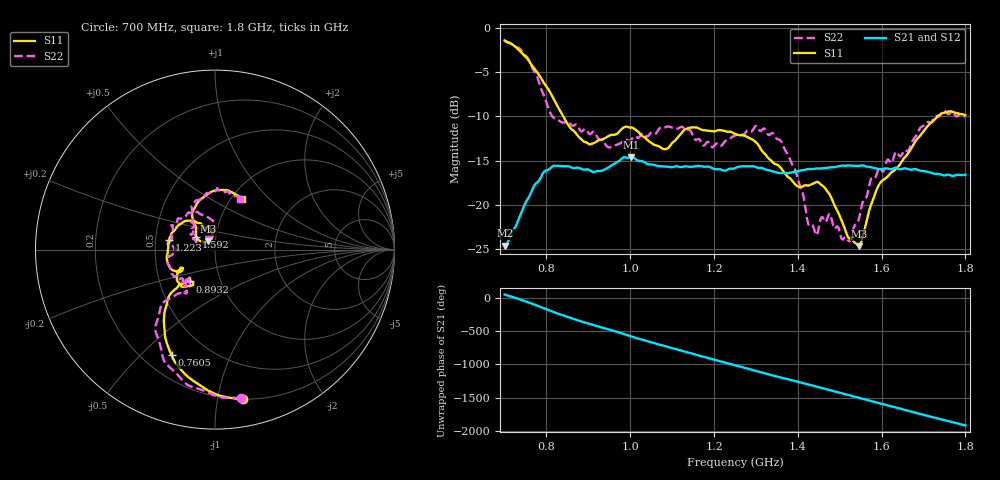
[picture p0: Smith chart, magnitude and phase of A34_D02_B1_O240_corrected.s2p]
! Created with skrf 1.9.0 (http://scikit-rf.org).
# Hz S RI R 50.0
!freq ReS11 ImS11 ReS21 ImS21 ReS12 ImS12 ReS22 ImS22
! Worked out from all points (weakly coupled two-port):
!   1601 points, 700 MHz to 1.8 GHz, reference 50 ohm
!   highest |S21| = -14.60 dB at 1.002 GHz (marker M1); lowest = -24.6 dB at 701.4 MHz (marker M2)
!   lowest |S11| = -24.7 dB at 1.547 GHz (marker M3), VSWR 1.12, Z = 46.3 + j4.23 ohm
!   |S11| at or under -10 dB: 839.7 MHz to 1.734 GHz (894.1 MHz wide, 69.5 % of centre)
!   |S22| runs from -24.1 to -1.5 dB; largest |S21 - S12| = 0.0035
!   S11 on the Smith chart (normalised r, x): 700 MHz: 0.20, -1.19; 760.5 MHz: 0.31, -0.62; 893.2 MHz: 0.71, -0.27; 1.223 GHz: 0.59, +0.07; 1.592 GHz: 0.80, +0.12; 1.8 GHz: 1.12, +0.71
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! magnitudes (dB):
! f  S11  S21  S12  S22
! 700 MHz  -1.4  -24.6  -24.4  -1.5
! 701.4 MHz  -1.4  -24.6  -24.3  -1.5
! 760.5 MHz  -3.9  -18.9  -18.8  -3.9
! 814.1 MHz  -7.8  -15.7  -15.7  -10.0
! 883.6 MHz  -12.6  -16.0  -15.8  -11.7
! 893.2 MHz  -12.9  -16.0  -16.1  -11.4
! 949.6 MHz  -12.2  -15.7  -15.7  -13.5
! 1.002 GHz  -11.3  -14.6  -14.7  -12.6
! 1.067 GHz  -13.4  -15.6  -15.6  -11.5
! 1.141 GHz  -11.3  -15.7  -15.7  -11.5
! 1.223 GHz  -11.6  -16.1  -16.1  -13.0
! 1.25 GHz  -12.0  -15.9  -15.8  -12.2
! 1.3 GHz  -12.9  -15.7  -15.7  -11.1
! 1.359 GHz  -15.8  -16.4  -16.4  -12.7
! 1.434 GHz  -17.7  -16.0  -15.9  -22.3
! 1.476 GHz  -18.8  -15.8  -15.8  -21.0
! 1.522 GHz  -23.8  -15.6  -15.6  -24.1
! 1.547 GHz  -24.7  -15.6  -15.6  -21.4
! 1.592 GHz  -17.9  -15.9  -15.9  -16.0
! 1.617 GHz  -16.6  -15.9  -15.9  -14.9
! 1.737 GHz  -9.9  -16.5  -16.6  -10.0
! 1.8 GHz  -9.9  -16.6  -16.6  -10.0
